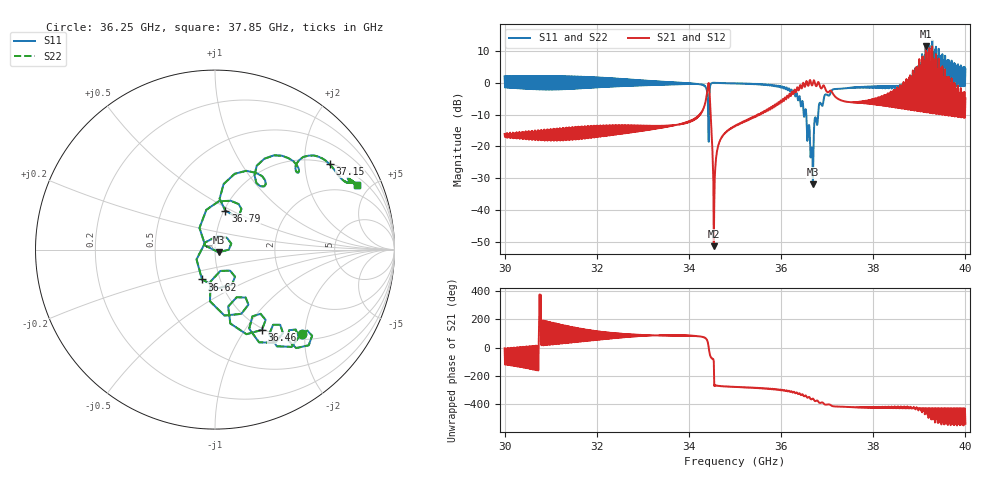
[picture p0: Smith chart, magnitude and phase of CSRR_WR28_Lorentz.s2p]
! TOUCHSTONE file generated by CST MICROWAVE STUDIO
! Date and time: Tue Jan 20 14:16:15 2026
! Project name: CSRR_WR28_Lorentz.cst
! Header version: 2018
! Port assignment regex: !\s*Touchstone port\s*([0-9]+)\s*=\s*(CST MWS port|CST DS port)\s*([0-9]+|Zmin|Zmax)\s*\(\"(.*)\"\)(\s*mode\s*([0-9]+))?.*
! Touchstone port assignment:
! Touchstone port 1 = CST MWS port 1 ("Port1")
! Touchstone port 2 = CST MWS port 2 ("Port2")
# GHz S MA R 50
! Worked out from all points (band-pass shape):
!   1001 points, 30 GHz to 40 GHz, reference 50 ohm
!   highest |S21| = 11.49 dB at 39.14 GHz (marker M1); lowest = -51.3 dB at 34.54 GHz (marker M2)
!   |S21| within 3 dB of the highest: 39.13854 GHz to 39.14145 GHz (2.904 MHz wide, 0.00742 % of centre); 39.19935 GHz to 39.20065 GHz (1.298 MHz wide, 0.00331 % of centre) (the widest 2 of 5)
!   lowest |S11| = -31.9 dB at 36.69 GHz (marker M3), VSWR 1.05, Z = 52.1 - j1.56 ohm
!   |S11| at or under -10 dB: 34.41587 GHz to 34.43658 GHz (20.72 MHz wide, 0.0602 % of centre); 36.49263 GHz to 36.50971 GHz (17.08 MHz wide, 0.0468 % of centre); 36.55 GHz to 36.8 GHz (257.7 MHz wide, 0.703 % of centre)
!   |S22| runs from -31.9 to 13.3 dB; largest |S21 - S12| = 3.5e-05
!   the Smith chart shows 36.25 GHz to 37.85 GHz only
!   S11 on the Smith chart (normalised r, x): 36.25 GHz: 1.12, -1.93; 36.46 GHz: 0.98, -1.20; 36.62 GHz: 0.82, -0.28; 36.79 GHz: 1.02, +0.46; 37.15 GHz: 1.02, +2.67; 37.85 GHz: 1.40, +4.12
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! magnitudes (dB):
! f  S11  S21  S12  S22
! 30 GHz  2.0  -16.1  -16.1  2.0
! 31.67 GHz  -1.7  -17.6  -17.6  -1.7
! 33.34 GHz  0.4  -13.5  -13.5  0.4
! 34.15 GHz  -0.4  -11.0  -11.0  -0.4
! 34.41 GHz  -5.6  -1.3  -1.3  -5.6
! 34.46 GHz  -1.1  -6.5  -6.5  -1.1
! 34.5 GHz  -0.1  -18.0  -18.0  -0.1
! 34.54 GHz  0.0  -51.3  -51.3  0.0
! 34.58 GHz  0.0  -25.2  -25.2  0.0
! 34.69 GHz  -0.1  -17.7  -17.7  -0.1
! 35 GHz  -0.2  -13.7  -13.7  -0.2
! 36.25 GHz  -3.4  -3.1  -3.1  -3.4
! 36.46 GHz  -5.7  -1.3  -1.3  -5.7
! 36.62 GHz  -14.8  0.7  0.7  -14.8
! 36.67 GHz  -20.3  -0.8  -0.8  -20.3
! 36.69 GHz  -31.9  -0.2  -0.2  -31.9
! 36.79 GHz  -13.0  -0.3  -0.3  -13.0
! 37.15 GHz  -2.0  -3.9  -3.9  -2.0
! 37.85 GHz  -1.2  -6.5  -6.5  -1.2
! 38.34 GHz  -1.7  -3.5  -3.5  -1.7
! 39.14 GHz  12.2  11.5  11.5  12.2
! 40 GHz  4.3  -4.8  -4.8  4.3
